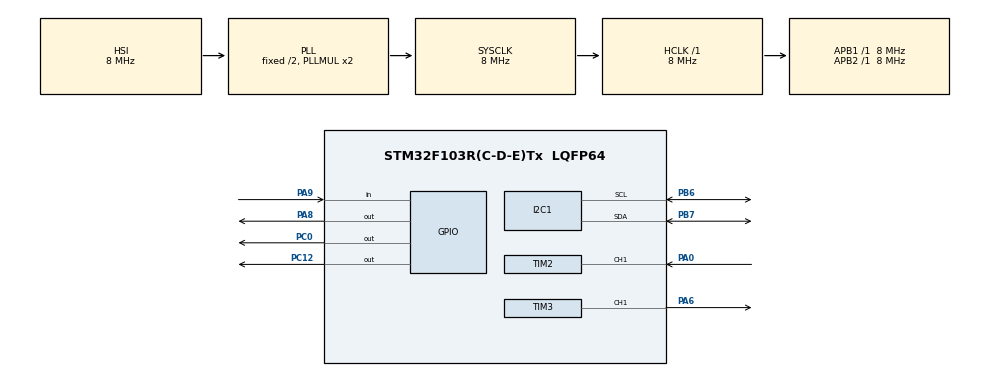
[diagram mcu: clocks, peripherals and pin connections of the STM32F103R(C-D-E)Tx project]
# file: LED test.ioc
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Mcu.Family=STM32F1
Mcu.Name=STM32F103R(C-D-E)Tx
Mcu.Package=LQFP64
NVIC.PriorityGroup=NVIC_PRIORITYGROUP_4
NVIC.TIM2_IRQn=true\:0\:0\:true\:false\:true\:true\:true
NVIC.TIM6_IRQn=true\:0\:0\:false\:false\:true\:true\:true
PA0-WKUP.Signal=S_TIM2_CH1_ETR
PA13.Mode=JTAG_5_pins
PA13.Signal=SYS_JTMS-SWDIO
PA14.Mode=JTAG_5_pins
PA14.Signal=SYS_JTCK-SWCLK
PA15.Mode=JTAG_5_pins
PA15.Signal=SYS_JTDI
PA6.Signal=S_TIM3_CH1
PA8.Signal=GPIO_Output
PA9.Signal=GPIO_Input
PB3.Mode=JTAG_5_pins
PB3.Signal=SYS_JTDO-TRACESWO
PB4.Mode=JTAG_5_pins
PB4.Signal=SYS_NJTRST
PB6.Mode=I2C
PB6.Signal=I2C1_SCL
PB7.Mode=I2C
PB7.Signal=I2C1_SDA
PC0.Signal=GPIO_Output
PC12.Signal=GPIO_Output
PD0-OSC_IN.Mode=HSE-External-Oscillator
PD0-OSC_IN.Signal=RCC_OSC_IN
PD1-OSC_OUT.Mode=HSE-External-Oscillator
PD1-OSC_OUT.Signal=RCC_OSC_OUT
ProjectManager.HeapSize=0x200
ProjectManager.StackSize=0x400
ProjectManager.TargetToolchain=MDK-ARM V5
RCC.AHBFreq_Value=8000000
RCC.APB1Freq_Value=8000000
RCC.APB1TimFreq_Value=8000000
RCC.APB2Freq_Value=8000000
RCC.APB2TimFreq_Value=8000000
RCC.HCLKFreq_Value=8000000
RCC.SYSCLKFreq_VALUE=8000000
RCC.SYSCLKSource=RCC_SYSCLKSOURCE_PLLCLK
RCC.USBFreq_Value=8000000
SH.S_TIM2_CH1_ETR.0=TIM2_CH1,Input_Capture1_from_TI1
SH.S_TIM3_CH1.0=TIM3_CH1,PWM Generation1 CH1
TIM2.Channel-Input_Capture1_from_TI1=TIM_CHANNEL_1
TIM2.Period=39999
TIM2.Prescaler=3999
TIM3.Channel-PWM\ Generation1\ CH1=TIM_CHANNEL_1
TIM3.Period=999
TIM3.Prescaler=79
TIM6.Period=99
TIM6.Prescaler=7999
VP_TIM2_VS_ClockSourceINT.Mode=Internal
VP_TIM3_VS_ClockSourceINT.Mode=Internal
VP_TIM6_VS_ClockSourceINT.Mode=Enable_Timer
board=custom

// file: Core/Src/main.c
/* USER CODE BEGIN Header */
/**
  ******************************************************************************
  * @file           : main.c
  * @brief          : Main program body
  ******************************************************************************
  * @attention
  *
  * <h2><center>&copy; Copyright (c) 2020 STMicroelectronics.
  * All rights reserved.</center></h2>
  *
  * This software component is licensed by ST under BSD 3-Clause license,
  * the "License"; You may not use this file except in compliance with the
  * License. You may obtain a copy of the License at:
  *                        opensource.org/licenses/BSD-3-Clause
  *
  ******************************************************************************
  */
/* USER CODE END Header */
#include "main.h"

/* USER CODE BEGIN Includes */
#include "GUI.h"

/* USER CODE END Includes */

/* USER CODE BEGIN PTD */
#include <stdio.h>

void WriteScreen(int val);
char content[3];
int val;
volatile int Freq_val = 10;
volatile uint32_t IC_Value1 = 0;
volatile uint32_t IC_Value2 = 0;
volatile uint32_t Difference = 0;
volatile int32_t Frequency = 0;
volatile uint8_t Is_First_Captured = 0;  // 0- not captured, 1- captured

/* USER CODE END PTD */

I2C_HandleTypeDef hi2c1;

TIM_HandleTypeDef htim2;
TIM_HandleTypeDef htim3;
TIM_HandleTypeDef htim6;

void SystemClock_Config(void);
static void MX_GPIO_Init(void);
static void MX_I2C1_Init(void);
static void MX_TIM2_Init(void);
static void MX_TIM6_Init(void);
static void MX_TIM3_Init(void);

int main(void)
{

  /* MCU Configuration--------------------------------------------------------*/

  /* Reset of all peripherals, Initializes the Flash interface and the Systick. */
  HAL_Init();

  /* Configure the system clock */
  SystemClock_Config();

  /* Initialize all configured peripherals */
  MX_GPIO_Init();
  MX_I2C1_Init();
  MX_TIM2_Init();
  MX_TIM6_Init();
  MX_TIM3_Init();

  /* Infinite loop */
  /* USER CODE BEGIN WHILE */
  ssd1306_Init();

  GUI_StartDemo();

  /*/
  ssd1306_SetCursor(2,32-9);
  ssd1306_WriteString("Speed:",Font_11x18,Black);

  ssd1306_WriteString("120",Font_11x18,Black);
  ssd1306_SetCursor(101,32-9+5);
  ssd1306_WriteString("RPM",Font_7x10,White);

  ssd1306_UpdateScreen();
  */
  WriteScreen(324);
  HAL_TIM_IC_Start_IT(&htim2, TIM_CHANNEL_1);
  //HAL_TIM_PWM_Start(&htim3, TIM_CHANNEL_1);
  //HAL_TIM_Base_Start_IT(&htim6); //I am not using timer6 interrupt for screen update

  uint16_t dutyCycle = HAL_TIM_ReadCapturedValue(&htim3, TIM_CHANNEL_1);

  int counter = 0;
  while (1)
  {
	  //HAL_GPIO_TogglePin(GPIOA, GPIO_PIN_8);
	  /*
	  while (dutyCycle < __HAL_TIM_GET_AUTORELOAD(&htim3)){
		  __HAL_TIM_SET_COMPARE(&htim3, TIM_CHANNEL_1, ++dutyCycle);
		  HAL_Delay(1);
	  }

	  while (dutyCycle > 0 ){
		  __HAL_TIM_SET_COMPARE(&htim3, TIM_CHANNEL_1, --dutyCycle);
		  HAL_Delay(1);
	  }
	  */

	  HAL_Delay(100);
	  HAL_GPIO_TogglePin(GPIOC, GPIO_PIN_12);
	  WriteScreen(120000/Freq_val);
	  //counter += 1;

    /* USER CODE END WHILE */

  }
}

void SystemClock_Config(void)
{
  RCC_OscInitTypeDef RCC_OscInitStruct = {0};
  RCC_ClkInitTypeDef RCC_ClkInitStruct = {0};

  /** Initializes the RCC Oscillators according to the specified parameters
  * in the RCC_OscInitTypeDef structure.
  */
  RCC_OscInitStruct.OscillatorType = RCC_OSCILLATORTYPE_HSI;
  RCC_OscInitStruct.HSIState = RCC_HSI_ON;
  RCC_OscInitStruct.HSICalibrationValue = RCC_HSICALIBRATION_DEFAULT;
  RCC_OscInitStruct.PLL.PLLState = RCC_PLL_ON;
  RCC_OscInitStruct.PLL.PLLSource = RCC_PLLSOURCE_HSI_DIV2;
  RCC_OscInitStruct.PLL.PLLMUL = RCC_PLL_MUL2;
  if (HAL_RCC_OscConfig(&RCC_OscInitStruct) != HAL_OK)
  {
    Error_Handler();
  }
  /** Initializes the CPU, AHB and APB buses clocks
  */
  RCC_ClkInitStruct.ClockType = RCC_CLOCKTYPE_HCLK|RCC_CLOCKTYPE_SYSCLK
                              |RCC_CLOCKTYPE_PCLK1|RCC_CLOCKTYPE_PCLK2;
  RCC_ClkInitStruct.SYSCLKSource = RCC_SYSCLKSOURCE_PLLCLK;
  RCC_ClkInitStruct.AHBCLKDivider = RCC_SYSCLK_DIV1;
  RCC_ClkInitStruct.APB1CLKDivider = RCC_HCLK_DIV1;
  RCC_ClkInitStruct.APB2CLKDivider = RCC_HCLK_DIV1;

  if (HAL_RCC_ClockConfig(&RCC_ClkInitStruct, FLASH_LATENCY_0) != HAL_OK)
  {
    Error_Handler();
  }
}

static void MX_I2C1_Init(void)
{

  hi2c1.Instance = I2C1;
  hi2c1.Init.ClockSpeed = 100000;
  hi2c1.Init.DutyCycle = I2C_DUTYCYCLE_2;
  hi2c1.Init.OwnAddress1 = 0;
  hi2c1.Init.AddressingMode = I2C_ADDRESSINGMODE_7BIT;
  hi2c1.Init.DualAddressMode = I2C_DUALADDRESS_DISABLE;
  hi2c1.Init.OwnAddress2 = 0;
  hi2c1.Init.GeneralCallMode = I2C_GENERALCALL_DISABLE;
  hi2c1.Init.NoStretchMode = I2C_NOSTRETCH_DISABLE;
  if (HAL_I2C_Init(&hi2c1) != HAL_OK)
  {
    Error_Handler();
  }

}

static void MX_TIM2_Init(void)
{

  TIM_ClockConfigTypeDef sClockSourceConfig = {0};
  TIM_MasterConfigTypeDef sMasterConfig = {0};
  TIM_IC_InitTypeDef sConfigIC = {0};

  htim2.Instance = TIM2;
  htim2.Init.Prescaler = 3999;
  htim2.Init.CounterMode = TIM_COUNTERMODE_UP;
  htim2.Init.Period = 39999;
  htim2.Init.ClockDivision = TIM_CLOCKDIVISION_DIV1;
  htim2.Init.AutoReloadPreload = TIM_AUTORELOAD_PRELOAD_DISABLE;
  if (HAL_TIM_Base_Init(&htim2) != HAL_OK)
  {
    Error_Handler();
  }
  sClockSourceConfig.ClockSource = TIM_CLOCKSOURCE_INTERNAL;
  if (HAL_TIM_ConfigClockSource(&htim2, &sClockSourceConfig) != HAL_OK)
  {
    Error_Handler();
  }
  if (HAL_TIM_IC_Init(&htim2) != HAL_OK)
  {
    Error_Handler();
  }
  sMasterConfig.MasterOutputTrigger = TIM_TRGO_RESET;
  sMasterConfig.MasterSlaveMode = TIM_MASTERSLAVEMODE_DISABLE;
  if (HAL_TIMEx_MasterConfigSynchronization(&htim2, &sMasterConfig) != HAL_OK)
  {
    Error_Handler();
  }
  sConfigIC.ICPolarity = TIM_INPUTCHANNELPOLARITY_RISING;
  sConfigIC.ICSelection = TIM_ICSELECTION_DIRECTTI;
  sConfigIC.ICPrescaler = TIM_ICPSC_DIV1;
  sConfigIC.ICFilter = 0;
  if (HAL_TIM_IC_ConfigChannel(&htim2, &sConfigIC, TIM_CHANNEL_1) != HAL_OK)
  {
    Error_Handler();
  }
  /* USER CODE BEGIN TIM2_Init 2 */
    //HAL_TIM_IC_Init(&htim2);
	//HAL_TIM_IC_ConfigChannel(&htim2, &sConfigIC, TIM_CHANNEL_1);

  /* USER CODE END TIM2_Init 2 */

}

static void MX_TIM3_Init(void)
{

  TIM_ClockConfigTypeDef sClockSourceConfig = {0};
  TIM_MasterConfigTypeDef sMasterConfig = {0};
  TIM_OC_InitTypeDef sConfigOC = {0};

  htim3.Instance = TIM3;
  htim3.Init.Prescaler = 79;
  htim3.Init.CounterMode = TIM_COUNTERMODE_UP;
  htim3.Init.Period = 999;
  htim3.Init.ClockDivision = TIM_CLOCKDIVISION_DIV1;
  htim3.Init.AutoReloadPreload = TIM_AUTORELOAD_PRELOAD_DISABLE;
  if (HAL_TIM_Base_Init(&htim3) != HAL_OK)
  {
    Error_Handler();
  }
  sClockSourceConfig.ClockSource = TIM_CLOCKSOURCE_INTERNAL;
  if (HAL_TIM_ConfigClockSource(&htim3, &sClockSourceConfig) != HAL_OK)
  {
    Error_Handler();
  }
  if (HAL_TIM_PWM_Init(&htim3) != HAL_OK)
  {
    Error_Handler();
  }
  sMasterConfig.MasterOutputTrigger = TIM_TRGO_RESET;
  sMasterConfig.MasterSlaveMode = TIM_MASTERSLAVEMODE_DISABLE;
  if (HAL_TIMEx_MasterConfigSynchronization(&htim3, &sMasterConfig) != HAL_OK)
  {
    Error_Handler();
  }
  sConfigOC.OCMode = TIM_OCMODE_PWM1;
  sConfigOC.Pulse = 0;
  sConfigOC.OCPolarity = TIM_OCPOLARITY_HIGH;
  sConfigOC.OCFastMode = TIM_OCFAST_DISABLE;
  if (HAL_TIM_PWM_ConfigChannel(&htim3, &sConfigOC, TIM_CHANNEL_1) != HAL_OK)
  {
    Error_Handler();
  }
  HAL_TIM_MspPostInit(&htim3);

}

static void MX_TIM6_Init(void)
{

  TIM_MasterConfigTypeDef sMasterConfig = {0};

  htim6.Instance = TIM6;
  htim6.Init.Prescaler = 7999;
  htim6.Init.CounterMode = TIM_COUNTERMODE_UP;
  htim6.Init.Period = 99;
  htim6.Init.AutoReloadPreload = TIM_AUTORELOAD_PRELOAD_DISABLE;
  if (HAL_TIM_Base_Init(&htim6) != HAL_OK)
  {
    Error_Handler();
  }
  sMasterConfig.MasterOutputTrigger = TIM_TRGO_RESET;
  sMasterConfig.MasterSlaveMode = TIM_MASTERSLAVEMODE_DISABLE;
  if (HAL_TIMEx_MasterConfigSynchronization(&htim6, &sMasterConfig) != HAL_OK)
  {
    Error_Handler();
  }

}

static void MX_GPIO_Init(void)
{
  GPIO_InitTypeDef GPIO_InitStruct = {0};

  /* GPIO Ports Clock Enable */
  __HAL_RCC_GPIOD_CLK_ENABLE();
  __HAL_RCC_GPIOC_CLK_ENABLE();
  __HAL_RCC_GPIOA_CLK_ENABLE();
  __HAL_RCC_GPIOB_CLK_ENABLE();

  /*Configure GPIO pin Output Level */
  HAL_GPIO_WritePin(GPIOC, GPIO_PIN_0|GPIO_PIN_12, GPIO_PIN_RESET);

  /*Configure GPIO pin Output Level */
  HAL_GPIO_WritePin(GPIOA, GPIO_PIN_8, GPIO_PIN_RESET);

  /*Configure GPIO pins : PC0 PC12 */
  GPIO_InitStruct.Pin = GPIO_PIN_0|GPIO_PIN_12;
  GPIO_InitStruct.Mode = GPIO_MODE_OUTPUT_PP;
  GPIO_InitStruct.Pull = GPIO_NOPULL;
  GPIO_InitStruct.Speed = GPIO_SPEED_FREQ_LOW;
  HAL_GPIO_Init(GPIOC, &GPIO_InitStruct);

  /*Configure GPIO pin : PA8 */
  GPIO_InitStruct.Pin = GPIO_PIN_8;
  GPIO_InitStruct.Mode = GPIO_MODE_OUTPUT_PP;
  GPIO_InitStruct.Pull = GPIO_NOPULL;
  GPIO_InitStruct.Speed = GPIO_SPEED_FREQ_LOW;
  HAL_GPIO_Init(GPIOA, &GPIO_InitStruct);

  /*Configure GPIO pin : PA9 */
  GPIO_InitStruct.Pin = GPIO_PIN_9;
  GPIO_InitStruct.Mode = GPIO_MODE_INPUT;
  GPIO_InitStruct.Pull = GPIO_NOPULL;
  HAL_GPIO_Init(GPIOA, &GPIO_InitStruct);

}

/* USER CODE BEGIN 4 */

void HAL_TIM_PeriodElapsedCallback(TIM_HandleTypeDef *htim){
	/*
	I wrote this funciton to control the update of screen via interrupts.
	But I found out that it interferes with the interrupt of timer2 (which controls the Input Capture)
	So I testd whether the interrupt of timer2 can break the delay in while loop, and I figured out that
	that is the case and timer2 interrupt can do so. So I am still handling the screen update with delay in the main loop.

	*/

	if (htim->Instance == TIM6){

		//HAL_GPIO_TogglePin(GPIOC, GPIO_PIN_12);
		//WriteScreen(120000/Freq_val);
	}
}

void WriteScreen(int val){
	char content[10];
	 ssd1306_Fill(White);
	sprintf(content,"%d",val);
	ssd1306_SetCursor(2,2);
	ssd1306_WriteString("Sharif University",Font_7x10,Black);

	//HAL_Delay(100);

	ssd1306_SetCursor(2,32-9);
	ssd1306_WriteString("Speed:",Font_11x18,Black);

	ssd1306_WriteString(content,Font_11x18,Black);
	ssd1306_SetCursor(101,32-9+5+10);
	ssd1306_WriteString("RPM",Font_7x10,White);

	ssd1306_UpdateScreen();

}

void HAL_TIM_IC_CaptureCallback(TIM_HandleTypeDef *htim)
{

	 //WriteScreen(Frequency*60);

	if (htim->Channel == HAL_TIM_ACTIVE_CHANNEL_1)  // if interrput source is channel 1
	{

		if (Is_First_Captured==0)  // is the first value captured ?
		{
			IC_Value1 = HAL_TIM_ReadCapturedValue(htim, TIM_CHANNEL_1);  // capture the first value
			Is_First_Captured =1;  // set the first value captured as true
			HAL_GPIO_TogglePin(GPIOA, GPIO_PIN_8);
		}

		else if (Is_First_Captured)  // if the first is captured
		{
			IC_Value2 = HAL_TIM_ReadCapturedValue(htim, TIM_CHANNEL_1);  // capture second value

			if (IC_Value2 > IC_Value1)
			{
				Difference = IC_Value2-IC_Value1;   // calculate the difference
			}

			else if (IC_Value2 < IC_Value1)
			{
				Difference = ((0x9c40-IC_Value1)+IC_Value2) +1;
			}

			else
			{
				Error_Handler();
			}

			//Frequency = HAL_RCC_GetPCLK1Freq()/Difference;  // calculate frequency
			Frequency = Difference;
			Is_First_Captured = 0;  // reset the first captured
		}
		//WriteScreen(152);
		//HAL_Delay(500);
		HAL_GPIO_TogglePin(GPIOA, GPIO_PIN_8);
		Freq_val = Frequency;

	}

}
/* USER CODE END 4 */

void Error_Handler(void)
{
  /* USER CODE BEGIN Error_Handler_Debug */
  /* User can add his own implementation to report the HAL error return state */
	//WriteScreen(500);

  /* USER CODE END Error_Handler_Debug */
}

/************************ (C) COPYRIGHT STMicroelectronics *****END OF FILE****/
